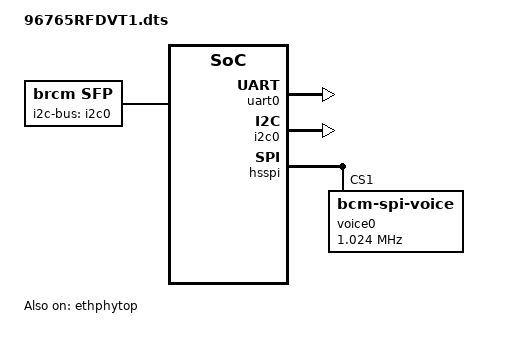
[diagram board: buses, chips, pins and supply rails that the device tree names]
#include "6765.dtsi"

/ {
	memory_controller {
		memcfg = <(BP_DDR_TYPE_DDR4       | \
			BP_DDR_SPEED_1600_22_22_22    | \
			BP_DDR_TOTAL_SIZE_2048MB      | \
			BP_DDR_DEVICE_WIDTH_16        | \
			BP_DDR_TOTAL_WIDTH_16BIT      | \
			BP_DDR_6765_DEFAULT           | \
			BP_DDR_CONFIG_DEBUG)>;
	};
	sfp: sfp {
		compatible = "brcm,sfp";
		pinctrl-name = "default";
		pinctrl-0 = <&a_slan_sd_rx_los_pin_4>;
		mod-def0 = <&bca_extintr 3 GPIO_ACTIVE_LOW (BCA_EXTINTR_TYPE_BOTH_EDGE | BCA_EXTINTR_TYPE_SENSE_EDGE)>;
		i2c-bus = <&i2c0>;
		status = "okay";
	};
	buttons {
		compatible = "brcm,buttons";
		reset_button {
			ext_irq = <&bca_extintr 27 GPIO_ACTIVE_LOW (BCA_EXTINTR_TYPE_LOW_LEVEL | BCA_EXTINTR_TYPE_SENSE_EDGE)>;
			press {
				print = "Button Press -- Hold for 5s to do restore to default";
			};
			hold {
				rst_to_dflt = <5>;
			};
			release {
				reset = <0>;
			};  
		};
		ses_button {
			ext_irq = <&bca_extintr 31 GPIO_ACTIVE_LOW (BCA_EXTINTR_TYPE_LOW_LEVEL | BCA_EXTINTR_TYPE_SENSE_EDGE)>;
			release {
				ses_short_period = <0>;
				ses_long_period = <3>;
			};
		};
	};
};

&mdio_sf2 {
       /* Port PHY mapping:
            port_imp -8#0- port_xhy <----> phy_xphy
                      # #
                      ##5- port_sgmii <-> phy_serdes - sfp
         */
	phy_xphy {
		enet-phy-lane-swap;
		status = "okay";
	};
	phy_serdes {
		status = "okay";
		trx = <&sfp>;
	};
};

&ethphytop {
    xphy0-enabled;
    status = "okay";
};

&switch0 {

	ports {
		port_xphy {
			phy-handle = <&phy_xphy>;
			network-leds=<&led0 &led1 &led2>;
			status = "okay";
		};
		port_sgmii {
			phy-handle = <&phy_serdes>;
			status = "okay";
		};
	};
};
&vreg_sync {
	pinctrl-0 = <&b_vreg_sync_pin_33>;
	pinctrl-names = "default";
	status="okay";
};
&uart0 {
    pinctrl-names = "default";
    pinctrl-0 = <&uart0_sdin_pin_64 &uart0_sdout_pin_65>;
    status = "okay";
};


&led_ctrl {
	led0: parallel-port_0-led_0 {
		active_low;
		pinctrl-0 = <&a_per_led_24_pin_24>;
		crossbar-output = <0>;
		link = <(LED_SPEED_100|LED_SPEED_2500)>;
		activity = <(LED_SPEED_100|LED_SPEED_2500)>;
		status="okay";
	};
	led1: parallel-port_0-led_1 {
		active_low;
		pinctrl-0 = <&a_per_led_20_pin_20>;
		crossbar-output = <1>;
		link = <(LED_SPEED_1G)>;
		activity = <(LED_SPEED_1G)>;
		status="okay";
	};
	led2: parallel-port_0-led_2 {
		active_low;
		pinctrl-0 = <&a_per_led_00_pin_0>;
		crossbar-output = <2>;
		link = <(LED_SPEED_2500|LED_SPEED_10G)>;
		activity = <(LED_SPEED_2500|LED_SPEED_10G)>;
		status="okay";
	};
	led3: parallel-aggregate_activity {
		active_low;
		pinctrl-0 = <&a_per_led_08_pin_8>;
		crossbar-output = <9>;
		link = <(LED_SPEED_2500|LED_SPEED_10G)>;
		activity = <(LED_SPEED_2500|LED_SPEED_10G)>;
		status="okay";
	};
	led4: parallel-aggregate_link{
		active_low;
		pinctrl-0 = <&a_per_led_09_pin_9>;
		crossbar-output = <10>;
		link = <(LED_SPEED_2500|LED_SPEED_10G)>;
		activity = <(LED_SPEED_2500|LED_SPEED_10G)>;
		status="okay";
	};
	led5: sw_parallel_led_39 {
		active_low; 
		brightness = <255>;
		pinctrl-0 = <&b_per_led_06_pin_39>;
		flash_rate = <0>;
		status = "okay";
		label = "WiFi_0";
	};
	led6: sw_parallel_led_39 {
		active_low; 
		brightness = <255>;
		pinctrl-0 = <&a_per_led_12_pin_12>;
		flash_rate = <0>;
		status = "okay";
		label = "WiFi_1";
	};
	led7: sw_parallel_led_10 {
		active_low; 
		brightness = <255>;
		pinctrl-0 = <&a_per_led_10_pin_10>;
		flash_rate = <0>;
		status = "okay";
		label = "WiFi";
	};

};
&legacy_leds {
	wl-sess-led = <&led7>;
	wl0-led = <&led5>;
	wl1-led = <&led6>;
};
&i2c0 {
	pinctrl-names = "default";
	pinctrl-0 = <&b_i2c_sda_pin_7 &b_i2c_scl_pin_6>;
	status = "okay";
};
&hsspi {
	status = "okay";
	voice0 {
		pinctrl-0 = <&spim_ss0_b_pin_43>;
		pinctrl-names = "default";
		compatible = "bcm-spi-voice";
		reg = <1>; /* chip select 1 */
		spi-max-frequency = <1024000>;
		spi-index = <0>;/* voice header index */
	};
};
